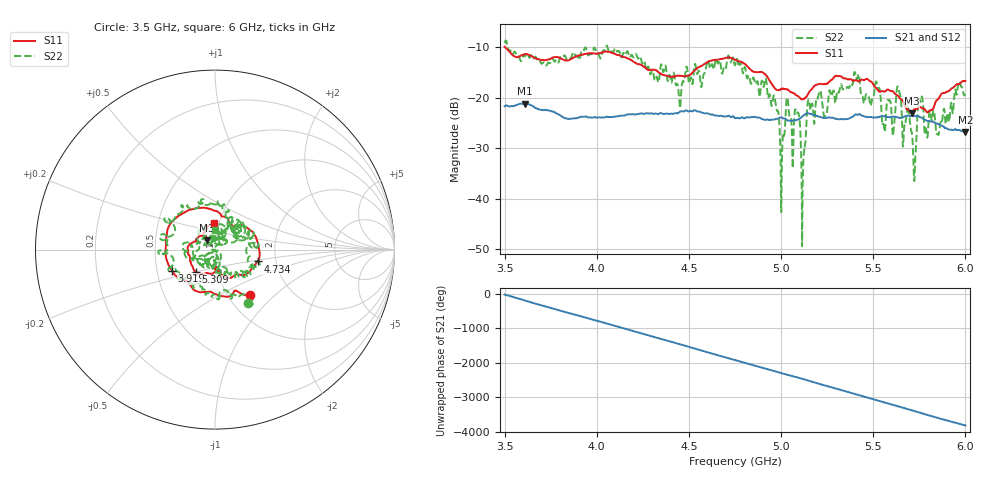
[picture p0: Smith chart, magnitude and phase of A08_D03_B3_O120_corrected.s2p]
! Created with skrf 1.9.0 (http://scikit-rf.org).
# Hz S RI R 50.0
!freq ReS11 ImS11 ReS21 ImS21 ReS12 ImS12 ReS22 ImS22
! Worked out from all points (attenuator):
!   1601 points, 3.5 GHz to 6 GHz, reference 50 ohm
!   highest |S21| = -21.14 dB at 3.611 GHz (marker M1); lowest = -26.8 dB at 6 GHz (marker M2)
!   lowest |S11| = -23.0 dB at 5.708 GHz (marker M3), VSWR 1.15, Z = 45.3 + j4.8 ohm
!   |S11| at or under -10 dB: 3.504 GHz to end of sweep
!   |S22| runs from -49.4 to -8.6 dB; largest |S21 - S12| = 0.00097
!   S11 on the Smith chart (normalised r, x): 3.5 GHz: 1.25, -0.71; 3.919 GHz: 0.60, -0.15; 4.734 GHz: 1.60, -0.23; 5.309 GHz: 0.79, -0.20; 6 GHz: 0.95, +0.28
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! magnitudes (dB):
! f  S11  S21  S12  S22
! 3.5 GHz  -9.9  -21.7  -21.6  -9.1
! 3.611 GHz  -11.3  -21.1  -21.1  -11.7
! 3.917 GHz  -11.5  -23.8  -23.7  -10.8
! 3.919 GHz  -11.5  -23.7  -23.7  -10.7
! 4.334 GHz  -14.9  -23.2  -23.2  -16.9
! 4.734 GHz  -12.2  -23.7  -23.7  -12.3
! 4.75 GHz  -12.4  -24.0  -24.0  -13.5
! 4.967 GHz  -18.2  -24.2  -24.2  -20.4
! 5.006 GHz  -18.2  -23.9  -23.9  -29.9
! 5.034 GHz  -18.3  -24.5  -24.4  -20.0
! 5.088 GHz  -19.6  -24.4  -24.3  -23.0
! 5.119 GHz  -20.2  -23.6  -23.5  -34.8
! 5.167 GHz  -18.3  -23.2  -23.2  -21.2
! 5.309 GHz  -15.7  -24.2  -24.2  -18.8
! 5.584 GHz  -18.4  -23.8  -23.8  -20.4
! 5.609 GHz  -18.8  -23.7  -23.6  -26.9
! 5.638 GHz  -19.7  -23.9  -23.9  -18.2
! 5.708 GHz  -23.0  -23.6  -23.6  -26.7
! 5.727 GHz  -22.2  -23.6  -23.6  -33.0
! 5.756 GHz  -21.8  -23.9  -23.8  -20.8
! 5.85 GHz  -20.3  -25.2  -25.1  -27.1
! 6 GHz  -16.6  -26.8  -26.7  -19.3
